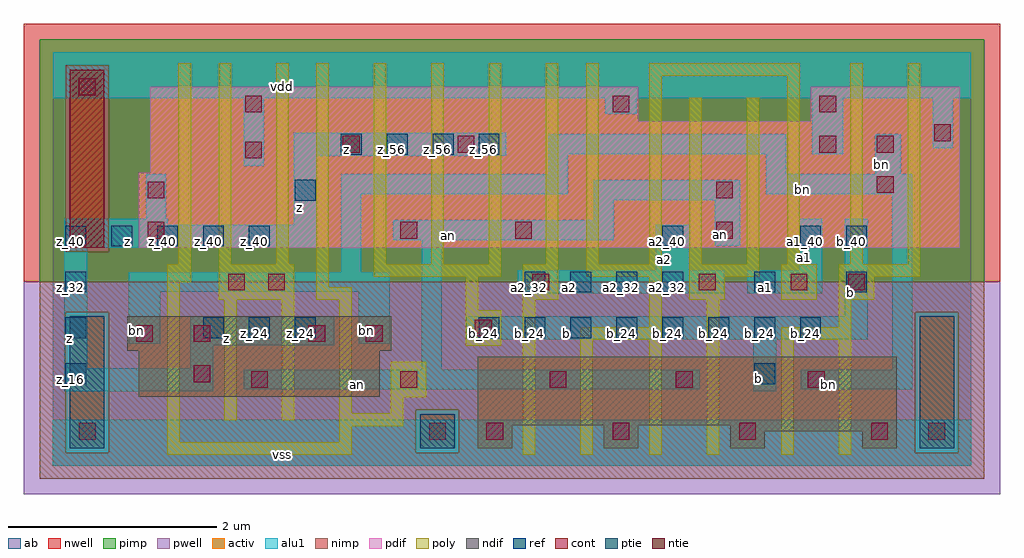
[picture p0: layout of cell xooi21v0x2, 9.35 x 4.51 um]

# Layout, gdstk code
import gdstk
lib = gdstk.Library(unit=1e-6, precision=2.5e-09)
def R(c, l, rs):  # rectangles x0, y0, x1, y1
    for r in rs: c.add(gdstk.rectangle(r[:2], r[2:], *l))
def A(c, l, x, y, w, h, nx, ny, dx, dy):  # array of equal rectangles
    R(c, l, [(x+i*dx, y+j*dy, x+i*dx+w, y+j*dy+h) for i in range(nx) for j in range(ny)])
ndif = (3, 0)
pdif = (4, 0)
ntie = (5, 0)
ptie = (6, 0)
ref = (24, 0)
cont = (25, 0)
pwell = (41, 0)
nwell = (42, 0)
activ = (43, 0)
pimp = (44, 0)
nimp = (45, 0)
poly = (46, 0)
alu1 = (49, 0)
ab = (63, 0)

xooi21v0x2 = lib.new_cell('xooi21v0x2')
R(xooi21v0x2, ndif, [(4.07,0.165,4.4,0.385), (5.28,0.165,5.61,0.385), (6.49,0.165,6.82,0.33), (7.755,0.165,8.085,0.33), (6.49,0.33,8.085,0.385), (4.07,0.385,8.085,1.045), (0.825,0.66,3.135,1.1), (0.715,1.1,3.245,1.43)])
R(xooi21v0x2, pdif, [(0.825,2.09,8.69,2.805), (0.935,2.805,8.69,3.3), (0.935,3.3,5.61,3.63), (7.26,3.3,8.69,3.63)])
R(xooi21v0x2, ntie, [(0.165,2.09,0.495,3.795)])
R(xooi21v0x2, ptie, [(0.165,0.165,0.495,1.43), (3.52,0.165,3.85,0.495), (8.305,0.165,8.635,1.43)])
A(xooi21v0x2, ref, 0.12, 0.78, 0.2, 0.2, 1, 3, 0, 0.44)
A(xooi21v0x2, ref, 1.44, 1.22, 0.2, 0.2, 3, 1, 0.44, 0)
A(xooi21v0x2, ref, 4.08, 1.22, 0.2, 0.2, 8, 1, 0.44, 0)
A(xooi21v0x2, ref, 4.52, 1.66, 0.2, 0.2, 4, 1, 0.44, 0)
A(xooi21v0x2, ref, 0.12, 2.1, 0.2, 0.2, 5, 1, 0.44, 0)
A(xooi21v0x2, ref, 2.76, 2.98, 0.2, 0.2, 4, 1, 0.44, 0)
R(xooi21v0x2, ref, [(6.72,0.78,6.92,0.98), (6.72,1.66,6.92,1.86), (7.6,1.66,7.8,1.86), (5.84,2.1,6.04,2.3), (7.16,2.1,7.36,2.3), (7.6,2.1,7.8,2.3), (2.32,2.54,2.52,2.74)])
A(xooi21v0x2, cont, 4.155, 0.25, 0.16, 0.16, 3, 1, 1.21, 0)
A(xooi21v0x2, cont, 1.9, 0.745, 0.16, 0.16, 3, 1, 1.43, 0)
R(xooi21v0x2, cont, [(0.25,0.25,0.41,0.41), (3.605,0.25,3.765,0.41), (7.84,0.25,8,0.41), (8.39,0.25,8.55,0.41), (5.97,0.745,6.13,0.905), (7.235,0.745,7.395,0.905), (1.35,0.8,1.51,0.96), (0.8,1.185,0.96,1.345), (1.35,1.185,1.51,1.345), (2.45,1.185,2.61,1.345), (3,1.185,3.16,1.345), (4.045,1.24,4.205,1.4), (1.68,1.68,1.84,1.84), (2.065,1.68,2.225,1.84), (4.595,1.68,4.755,1.84), (6.19,1.68,6.35,1.84), (7.07,1.68,7.23,1.84), (7.62,1.68,7.78,1.84), (0.91,2.175,1.07,2.335), (3.33,2.175,3.49,2.335), (4.43,2.175,4.59,2.335), (6.355,2.175,6.515,2.335), (0.91,2.56,1.07,2.72), (6.355,2.56,6.515,2.72), (7.895,2.615,8.055,2.775), (1.845,2.945,2.005,3.105), (2.78,3,2.94,3.16), (3.88,3,4.04,3.16), (7.345,3,7.505,3.16), (7.895,3,8.055,3.16), (8.445,3.11,8.605,3.27), (1.845,3.385,2.005,3.545), (5.365,3.385,5.525,3.545), (7.345,3.385,7.505,3.545), (0.25,3.55,0.41,3.71)])
R(xooi21v0x2, pwell, [(-0.275,-0.275,9.075,1.76)])
R(xooi21v0x2, nwell, [(-0.275,1.76,9.075,4.235)])
R(xooi21v0x2, activ, [(0.165,0.165,0.495,1.43), (3.52,0.165,3.85,0.495), (4.07,0.165,4.4,0.385), (5.28,0.165,5.61,0.385), (6.49,0.165,6.82,0.33), (7.755,0.165,8.085,0.33), (8.305,0.165,8.635,1.43), (6.49,0.33,8.085,0.385), (4.07,0.385,8.085,1.045), (0.825,0.66,3.135,1.1), (0.715,1.1,3.245,1.43), (0.165,2.09,0.495,3.795), (0.825,2.09,8.69,2.805), (0.935,2.805,8.69,3.3), (0.935,3.3,5.61,3.63), (7.26,3.3,8.69,3.63)])
R(xooi21v0x2, pimp, [(0.125,0.125,0.535,1.47), (3.48,0.125,3.89,0.535), (8.265,0.125,8.675,1.47), (-0.125,1.76,8.925,2.05), (-0.125,2.05,0.125,3.835), (0.535,2.05,8.925,3.835), (-0.125,3.835,8.925,4.085)])
R(xooi21v0x2, nimp, [(-0.125,-0.125,8.925,0.125), (-0.125,0.125,0.125,1.47), (0.535,0.125,3.48,0.535), (3.89,0.125,8.265,0.535), (8.675,0.125,8.925,1.47), (0.535,0.535,8.265,1.47), (-0.125,1.47,8.925,1.76), (0.125,2.05,0.535,3.835)])
A(xooi21v0x2, poly, 3.075, 1.93, 0.12, 1.925, 4, 1, 0.55, 0)
R(xooi21v0x2, poly, [(1.095,0.105,2.865,0.225), (4.505,0.105,4.625,1.59), (5.055,0.105,5.175,1.205), (5.715,0.105,5.835,1.205), (6.265,0.105,6.385,1.59), (6.98,0.105,7.1,1.205), (7.53,0.105,7.65,1.205), (1.095,0.225,1.215,1.755), (2.745,0.225,2.865,0.38), (2.745,0.38,3.36,0.5), (1.645,0.435,1.765,1.59), (2.195,0.435,2.315,1.59), (2.745,0.5,2.865,1.59), (3.24,0.5,3.36,0.655), (3.24,0.655,3.58,0.995), (3.955,1.15,4.295,1.49), (5.055,1.205,5.835,1.325), (6.98,1.205,7.65,1.325), (5.715,1.325,5.835,1.81), (7.53,1.325,7.65,1.59), (3.955,1.49,4.075,1.81), (1.59,1.59,2.315,1.93), (2.525,1.59,2.865,1.71), (4.505,1.59,4.845,1.93), (6.1,1.59,6.44,1.81), (6.98,1.59,7.32,1.93), (7.53,1.59,7.87,1.81), (2.525,1.71,2.645,3.855), (1.095,1.755,1.325,1.93), (3.075,1.81,4.295,1.93), (5.11,1.81,5.835,1.93), (6.1,1.81,6.77,1.93), (7.53,1.81,8.31,1.93), (1.205,1.93,1.325,3.855), (1.59,1.93,1.71,3.855), (2.14,1.93,2.26,3.855), (5.11,1.93,5.23,3.855), (5.715,1.93,5.835,3.735), (6.1,1.93,6.22,3.525), (6.65,1.93,6.77,3.525), (7.035,1.93,7.155,3.735), (7.64,1.93,7.76,3.855), (8.19,1.93,8.31,3.855), (5.715,3.735,7.155,3.855)])
R(xooi21v0x2, alu1, [(0,0,8.8,0.44), (0.11,0.715,1.54,0.935), (6.71,0.715,6.93,1.21), (1.83,0.73,6.2,0.92), (7.165,0.73,8.235,0.92), (3.535,0.92,3.725,2.16), (8.045,0.92,8.235,2.6), (0.11,0.935,0.33,2.09), (1.32,0.935,1.54,1.155), (1.32,1.155,2.695,1.43), (0.73,1.17,1.03,1.665), (2.93,1.17,3.23,1.665), (3.96,1.21,7.81,1.43), (7.59,1.43,7.81,2.365), (4.455,1.65,6.435,1.87), (6.655,1.65,7.37,1.87), (0.73,1.665,3.23,1.855), (2.765,1.855,2.955,2.6), (5.775,1.87,6.105,2.31), (7.15,1.87,7.37,2.365), (0.11,2.09,2.53,2.31), (6.34,2.105,6.585,2.545), (3.26,2.16,5.375,2.35), (0.11,2.31,1.1,2.365), (2.31,2.31,2.53,2.97), (5.185,2.35,5.375,2.545), (0.895,2.365,1.085,2.79), (5.185,2.545,6.585,2.735), (2.765,2.6,4.935,2.79), (6.835,2.6,8.235,2.79), (4.745,2.79,4.935,2.985), (6.835,2.79,7.025,2.985), (7.88,2.79,8.125,3.175), (1.83,2.875,2.02,3.52), (2.31,2.97,4.345,3.19), (4.745,2.985,7.025,3.175), (7.275,2.985,7.575,3.52), (8.43,3.04,8.62,3.52), (5.295,3.37,5.595,3.52), (0,3.52,8.8,3.96)])
R(xooi21v0x2, ab, [(0,0,8.8,3.96)])
xooi21v0x2.add(gdstk.Label('vss', (2.2,0.11), layer=49, texttype=0))
xooi21v0x2.add(gdstk.Label('bn', (7.4325,0.7775), layer=49, texttype=0))
xooi21v0x2.add(gdstk.Label('b', (6.765,0.8375), layer=49, texttype=0))
xooi21v0x2.add(gdstk.Label('an', (2.9225,0.7775), layer=49, texttype=0))
xooi21v0x2.add(gdstk.Label('b', (4.9225,1.265), layer=49, texttype=0))
xooi21v0x2.add(gdstk.Label('b', (7.645,1.6625), layer=49, texttype=0))
xooi21v0x2.add(gdstk.Label('a1', (6.8325,1.705), layer=49, texttype=0))
xooi21v0x2.add(gdstk.Label('a2', (4.95,1.705), layer=49, texttype=0))
xooi21v0x2.add(gdstk.Label('a1', (7.205,1.9925), layer=49, texttype=0))
xooi21v0x2.add(gdstk.Label('an', (6.4,2.215), layer=49, texttype=0))
xooi21v0x2.add(gdstk.Label('a2', (5.8575,1.98), layer=49, texttype=0))
xooi21v0x2.add(gdstk.Label('bn', (3.005,1.2925), layer=49, texttype=0))
xooi21v0x2.add(gdstk.Label('z', (1.6625,1.2225), layer=49, texttype=0))
xooi21v0x2.add(gdstk.Label('bn', (0.805,1.2925), layer=49, texttype=0))
xooi21v0x2.add(gdstk.Label('an', (3.7875,2.2075), layer=49, texttype=0))
xooi21v0x2.add(gdstk.Label('bn', (7.185,2.6475), layer=49, texttype=0))
xooi21v0x2.add(gdstk.Label('z', (0.165,1.2225), layer=49, texttype=0))
xooi21v0x2.add(gdstk.Label('bn', (7.94,2.885), layer=49, texttype=0))
xooi21v0x2.add(gdstk.Label('z', (0.715,2.145), layer=49, texttype=0))
xooi21v0x2.add(gdstk.Label('z', (2.365,2.475), layer=49, texttype=0))
xooi21v0x2.add(gdstk.Label('z', (2.8175,3.025), layer=49, texttype=0))
xooi21v0x2.add(gdstk.Label('vdd', (2.2,3.63), layer=49, texttype=0))
xooi21v0x2.add(gdstk.Label('b_24', (5.45,1.27), layer=24, texttype=0))
xooi21v0x2.add(gdstk.Label('a2_32', (5.45,1.71), layer=24, texttype=0))
xooi21v0x2.add(gdstk.Label('b_24', (5.89,1.27), layer=24, texttype=0))
xooi21v0x2.add(gdstk.Label('a2_32', (5.89,1.71), layer=24, texttype=0))
xooi21v0x2.add(gdstk.Label('a2_40', (5.89,2.15), layer=24, texttype=0))
xooi21v0x2.add(gdstk.Label('b_24', (6.33,1.27), layer=24, texttype=0))
xooi21v0x2.add(gdstk.Label('z_40', (0.61,2.15), layer=24, texttype=0))
xooi21v0x2.add(gdstk.Label('b_16', (6.77,0.83), layer=24, texttype=0))
xooi21v0x2.add(gdstk.Label('b_24', (6.77,1.27), layer=24, texttype=0))
xooi21v0x2.add(gdstk.Label('a1_32', (6.77,1.71), layer=24, texttype=0))
xooi21v0x2.add(gdstk.Label('b_24', (7.21,1.27), layer=24, texttype=0))
xooi21v0x2.add(gdstk.Label('a1_40', (7.21,2.15), layer=24, texttype=0))
xooi21v0x2.add(gdstk.Label('b_32', (7.65,1.71), layer=24, texttype=0))
xooi21v0x2.add(gdstk.Label('b_40', (7.65,2.15), layer=24, texttype=0))
xooi21v0x2.add(gdstk.Label('z_40', (1.05,2.15), layer=24, texttype=0))
xooi21v0x2.add(gdstk.Label('z_24', (1.49,1.27), layer=24, texttype=0))
xooi21v0x2.add(gdstk.Label('z_40', (1.49,2.15), layer=24, texttype=0))
xooi21v0x2.add(gdstk.Label('z_24', (1.93,1.27), layer=24, texttype=0))
xooi21v0x2.add(gdstk.Label('z_40', (1.93,2.15), layer=24, texttype=0))
xooi21v0x2.add(gdstk.Label('z_16', (0.17,0.83), layer=24, texttype=0))
xooi21v0x2.add(gdstk.Label('z_24', (0.17,1.27), layer=24, texttype=0))
xooi21v0x2.add(gdstk.Label('z_32', (0.17,1.71), layer=24, texttype=0))
xooi21v0x2.add(gdstk.Label('z_40', (0.17,2.15), layer=24, texttype=0))
xooi21v0x2.add(gdstk.Label('z_24', (2.37,1.27), layer=24, texttype=0))
xooi21v0x2.add(gdstk.Label('z_48', (2.37,2.59), layer=24, texttype=0))
xooi21v0x2.add(gdstk.Label('z_56', (2.81,3.03), layer=24, texttype=0))
xooi21v0x2.add(gdstk.Label('z_56', (3.25,3.03), layer=24, texttype=0))
xooi21v0x2.add(gdstk.Label('z_56', (3.69,3.03), layer=24, texttype=0))
xooi21v0x2.add(gdstk.Label('b_24', (4.13,1.27), layer=24, texttype=0))
xooi21v0x2.add(gdstk.Label('z_56', (4.13,3.03), layer=24, texttype=0))
xooi21v0x2.add(gdstk.Label('b_24', (4.57,1.27), layer=24, texttype=0))
xooi21v0x2.add(gdstk.Label('a2_32', (4.57,1.71), layer=24, texttype=0))
xooi21v0x2.add(gdstk.Label('b_24', (5.01,1.27), layer=24, texttype=0))
xooi21v0x2.add(gdstk.Label('a2_32', (5.01,1.71), layer=24, texttype=0))

lib.write_gds('xooi21v0x2.gds')
